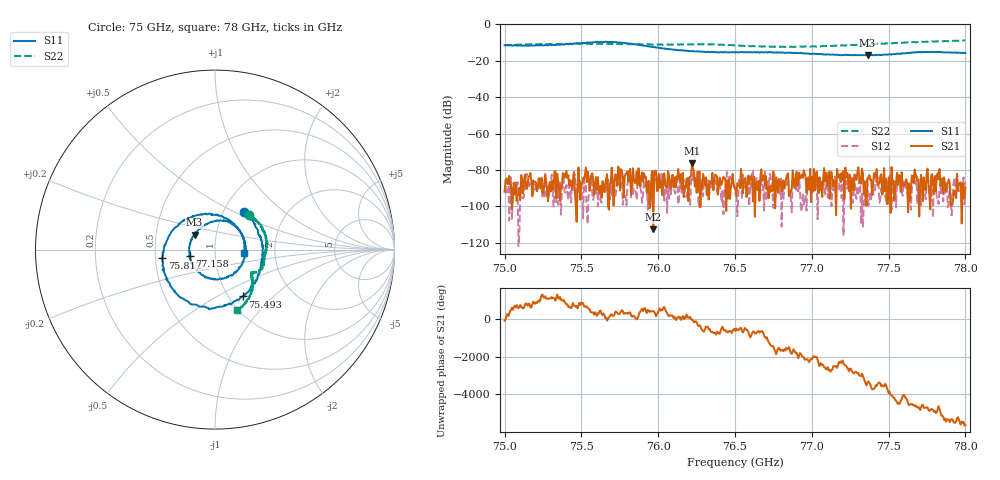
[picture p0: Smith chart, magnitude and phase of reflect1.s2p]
# Hz S RI R 50
! CMT, C4420, 21421029, 25.1.2/3
! Date: 8/5/2025 2:30:38 PM
! Data: Format (Calibration Info)
! Freq	S33:Re/Im(F2)	S43:Re/Im(F2)	S34:Re/Im(F2)	S44:Re/Im(F2)
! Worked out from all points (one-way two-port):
!   500 points, 75 GHz to 78 GHz, reference 50 ohm
!   highest |S21| = -76.25 dB at 76.22 GHz (marker M1); lowest = -112.6 dB at 75.968 GHz (marker M2)
!   lowest |S11| = -17.0 dB at 77.363 GHz (marker M3), VSWR 1.33, Z = 39.3 + j6.64 ohm
!   |S11| at or under -10 dB: start of sweep to 75.534 GHz; 75.54113 GHz to 75.55765 GHz (16.52 MHz wide, 0.0219 % of centre); 75.753 GHz to end of sweep (the widest 3 of 5)
!   |S22| runs from -12.5 to -8.9 dB; largest |S21 - S12| = 0.00015
!   S11 on the Smith chart (normalised r, x): 75 GHz: 1.25, +0.56; 75.493 GHz: 1.16, -0.67; 75.812 GHz: 0.54, -0.05; 77.158 GHz: 0.75, -0.05; 78 GHz: 1.39, -0.06
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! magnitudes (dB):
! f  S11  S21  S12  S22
! 75 GHz  -11.6  -92.0  -91.8  -11.3
! 75.319 GHz  -11.2  -89.4  -100.2  -10.8
! 75.493 GHz  -10.3  -96.4  -85.3  -10.7
! 75.505 GHz  -10.4  -88.0  -92.6  -10.6
! 75.667 GHz  -9.7  -82.3  -90.9  -10.6
! 75.745 GHz  -10.0  -79.6  -87.8  -10.9
! 75.812 GHz  -10.5  -81.2  -85.2  -10.9
! 75.968 GHz  -12.5  -112.6  -80.4  -11.2
! 76.004 GHz  -13.0  -82.3  -83.3  -11.0
! 76.202 GHz  -14.8  -84.1  -95.7  -11.0
! 76.208 GHz  -14.7  -83.9  -99.2  -11.0
! 76.22 GHz  -14.7  -76.3  -82.0  -11.0
! 76.232 GHz  -14.9  -80.6  -83.3  -11.0
! 76.244 GHz  -14.8  -84.9  -88.7  -11.0
! 76.503 GHz  -15.4  -90.5  -93.2  -11.6
! 76.762 GHz  -15.5  -101.1  -98.0  -12.3
! 77.002 GHz  -16.2  -84.0  -89.8  -12.1
! 77.158 GHz  -16.7  -104.9  -88.3  -11.7
! 77.363 GHz  -17.0  -84.6  -87.9  -11.0
! 77.501 GHz  -16.5  -84.0  -91.3  -10.5
! 77.699 GHz  -15.2  -105.6  -88.4  -9.8
! 78 GHz  -15.7  -89.7  -86.5  -8.9
